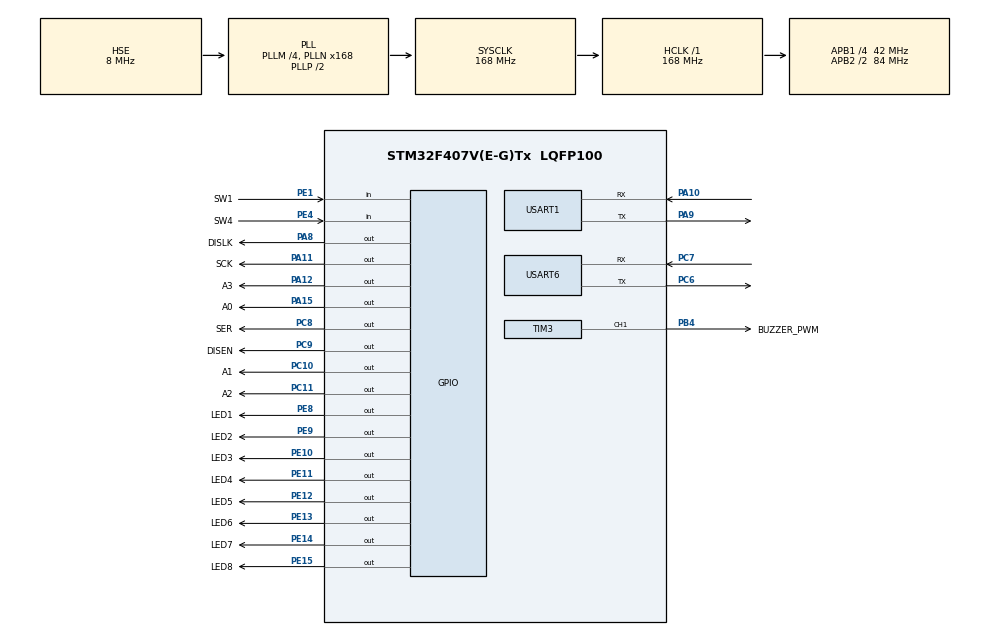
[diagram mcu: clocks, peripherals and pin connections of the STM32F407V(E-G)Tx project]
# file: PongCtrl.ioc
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Dma.Request0=USART6_RX
Dma.Request1=USART1_RX
Dma.USART1_RX.1.Direction=DMA_PERIPH_TO_MEMORY
Dma.USART1_RX.1.FIFOMode=DMA_FIFOMODE_DISABLE
Dma.USART1_RX.1.Instance=DMA2_Stream2
Dma.USART1_RX.1.MemDataAlignment=DMA_MDATAALIGN_BYTE
Dma.USART1_RX.1.MemInc=DMA_MINC_ENABLE
Dma.USART1_RX.1.Mode=DMA_NORMAL
Dma.USART1_RX.1.PeriphDataAlignment=DMA_PDATAALIGN_BYTE
Dma.USART1_RX.1.PeriphInc=DMA_PINC_DISABLE
Dma.USART1_RX.1.Priority=DMA_PRIORITY_LOW
Dma.USART6_RX.0.Direction=DMA_PERIPH_TO_MEMORY
Dma.USART6_RX.0.FIFOMode=DMA_FIFOMODE_DISABLE
Dma.USART6_RX.0.Instance=DMA2_Stream1
Dma.USART6_RX.0.MemDataAlignment=DMA_MDATAALIGN_BYTE
Dma.USART6_RX.0.MemInc=DMA_MINC_ENABLE
Dma.USART6_RX.0.Mode=DMA_NORMAL
Dma.USART6_RX.0.PeriphDataAlignment=DMA_PDATAALIGN_BYTE
Dma.USART6_RX.0.PeriphInc=DMA_PINC_DISABLE
Dma.USART6_RX.0.Priority=DMA_PRIORITY_LOW
FREERTOS.Queues01=netQueue,16,128,1,Dynamic,NULL,NULL;buzzerQueue,8,32,1,Dynamic,NULL,NULL
FREERTOS.Tasks01=TaskNet,40,512,StartTaskNet,AboveNormal,NULL,Dynamic,NULL,NULL;TaskButton,24,256,StartTaskButton,Normal,NULL,Dynamic,NULL,NULL;TaskBuzzer,24,256,StartTaskBuzzer,Normal,NULL,Dynamic,NULL,NULL;TaskStatus,8,256,StartTaskStatus,Low,NULL,Dynamic,NULL,NULL;TaskDisplay,8,128,StartTaskDisplay,Low,NULL,Dynamic,NULL,NULL
Mcu.Family=STM32F4
Mcu.Name=STM32F407V(E-G)Tx
Mcu.Package=LQFP100
NVIC.DMA2_Stream1_IRQn=true\:5\:0\:false\:false\:true\:true\:false\:true\:true
NVIC.DMA2_Stream2_IRQn=true\:5\:0\:false\:false\:true\:true\:false\:true\:true
NVIC.PriorityGroup=NVIC_PRIORITYGROUP_4
NVIC.TIM7_IRQn=true\:15\:0\:false\:false\:true\:false\:false\:true\:true
NVIC.TimeBase=TIM7_IRQn
NVIC.TimeBaseIP=TIM7
NVIC.USART1_IRQn=true\:5\:0\:false\:false\:true\:true\:true\:true\:true
NVIC.USART6_IRQn=true\:5\:0\:false\:false\:true\:true\:true\:true\:true
PB4.GPIO_Label=BUZZER_PWM
PB4.GPIO_Speed=GPIO_SPEED_FREQ_VERY_HIGH
PB4.Signal=S_TIM3_CH1
PA10.Mode=Asynchronous
PA10.Signal=USART1_RX
PA11.GPIO_Label=SCK
PA11.Signal=GPIO_Output
PA12.GPIO_Label=A3
PA12.Signal=GPIO_Output
PA13.Mode=Serial_Wire
PA13.Signal=SYS_JTMS-SWDIO
PA14.Mode=Serial_Wire
PA14.Signal=SYS_JTCK-SWCLK
PA15.GPIO_Label=A0
PA15.Signal=GPIO_Output
PA8.GPIO_Label=DISLK
PA8.Signal=GPIO_Output
PA9.Mode=Asynchronous
PA9.Signal=USART1_TX
PC6.Mode=Asynchronous
PC6.Signal=USART6_TX
PC7.Mode=Asynchronous
PC7.Signal=USART6_RX
PC10.GPIO_Label=A1
PC10.Signal=GPIO_Output
PC11.GPIO_Label=A2
PC11.Signal=GPIO_Output
PC8.GPIO_Label=SER
PC8.Signal=GPIO_Output
PC9.GPIO_Label=DISEN
PC9.Signal=GPIO_Output
PE1.GPIO_Label=SW1
PE1.GPIO_PuPd=GPIO_PULLUP
PE1.Signal=GPIO_Input
PE10.GPIO_Label=LED3
PE10.Signal=GPIO_Output
PE11.GPIO_Label=LED4
PE11.Signal=GPIO_Output
PE12.GPIO_Label=LED5
PE12.Signal=GPIO_Output
PE13.GPIO_Label=LED6
PE13.Signal=GPIO_Output
PE14.GPIO_Label=LED7
PE14.Signal=GPIO_Output
PE15.GPIO_Label=LED8
PE15.Signal=GPIO_Output
PE4.GPIO_Label=SW4
PE4.GPIO_PuPd=GPIO_PULLUP
PE4.Signal=GPIO_Input
PE8.GPIO_Label=LED1
PE8.GPIO_PuPd=GPIO_PULLUP
PE8.PinState=GPIO_PIN_SET
PE8.Signal=GPIO_Output
PE9.GPIO_Label=LED2
PE9.Signal=GPIO_Output
PH0-OSC_IN.Mode=HSE-External-Oscillator
PH0-OSC_IN.Signal=RCC_OSC_IN
PH1-OSC_OUT.Mode=HSE-External-Oscillator
PH1-OSC_OUT.Signal=RCC_OSC_OUT
ProjectManager.HeapSize=0x400
ProjectManager.StackSize=0x800
ProjectManager.TargetToolchain=MDK-ARM V5.32
RCC.48MHZClocksFreq_Value=84000000
RCC.AHBFreq_Value=168000000
RCC.APB1CLKDivider=RCC_HCLK_DIV4
RCC.APB1Freq_Value=42000000
RCC.APB1TimFreq_Value=84000000
RCC.APB2CLKDivider=RCC_HCLK_DIV2
RCC.APB2Freq_Value=84000000
RCC.APB2TimFreq_Value=168000000
RCC.CortexFreq_Value=168000000
RCC.HCLKFreq_Value=168000000
RCC.HSE_VALUE=8000000
RCC.HSI_VALUE=16000000
RCC.LSE_VALUE=32768
RCC.PLLM=4
RCC.PLLN=168
RCC.PLLSourceVirtual=RCC_PLLSOURCE_HSE
RCC.SYSCLKFreq_VALUE=168000000
RCC.SYSCLKSource=RCC_SYSCLKSOURCE_PLLCLK
RCC.VCOOutputFreq_Value=336000000
SH.S_TIM3_CH1.0=TIM3_CH1,PWM Generation1 CH1
TIM3.Channel-PWM\ Generation1\ CH1=TIM_CHANNEL_1
TIM3.Period=1000-1
TIM3.Prescaler=84-1
USART1.VirtualMode=VM_ASYNC
USART6.VirtualMode=VM_ASYNC
VP_FREERTOS_VS_CMSIS_V2.Mode=CMSIS_V2
VP_SYS_VS_tim7.Mode=TIM7
VP_TIM3_VS_ClockSourceINT.Mode=Internal
board=custom

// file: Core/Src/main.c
/* USER CODE BEGIN Header */
/**
  ******************************************************************************
  * @file           : main.c
  * @brief          : Main program body
  ******************************************************************************
  * @attention
  *
  * Copyright (c) 2026 STMicroelectronics.
  * All rights reserved.
  *
  * This software is licensed under terms that can be found in the LICENSE file
  * in the root directory of this software component.
  * If no LICENSE file comes with this software, it is provided AS-IS.
  *
  ******************************************************************************
  */
/* USER CODE END Header */
#include "main.h"
#include "cmsis_os.h"
#include "dma.h"
#include "tim.h"
#include "usart.h"
#include "gpio.h"

void SystemClock_Config(void);
void MX_FREERTOS_Init(void);

int main(void)
{

  /* MCU Configuration--------------------------------------------------------*/

  /* Reset of all peripherals, Initializes the Flash interface and the Systick. */
  HAL_Init();

  /* Configure the system clock */
  SystemClock_Config();

  /* Initialize all configured peripherals */
  MX_GPIO_Init();
  MX_DMA_Init();
  MX_USART1_UART_Init();
  MX_TIM3_Init();
  MX_USART6_UART_Init();

  /* Init scheduler */
  osKernelInitialize();

  /* Call init function for freertos objects (in cmsis_os2.c) */
  MX_FREERTOS_Init();

  /* Start scheduler */
  osKernelStart();

  /* We should never get here as control is now taken by the scheduler */

  /* Infinite loop */
  while (1)
  {

  }
}

void SystemClock_Config(void)
{
  RCC_OscInitTypeDef RCC_OscInitStruct = {0};
  RCC_ClkInitTypeDef RCC_ClkInitStruct = {0};

  /** Configure the main internal regulator output voltage
  */
  __HAL_RCC_PWR_CLK_ENABLE();
  __HAL_PWR_VOLTAGESCALING_CONFIG(PWR_REGULATOR_VOLTAGE_SCALE1);

  /** Initializes the RCC Oscillators according to the specified parameters
  * in the RCC_OscInitTypeDef structure.
  */
  RCC_OscInitStruct.OscillatorType = RCC_OSCILLATORTYPE_HSE;
  RCC_OscInitStruct.HSEState = RCC_HSE_ON;
  RCC_OscInitStruct.PLL.PLLState = RCC_PLL_ON;
  RCC_OscInitStruct.PLL.PLLSource = RCC_PLLSOURCE_HSE;
  RCC_OscInitStruct.PLL.PLLM = 4;
  RCC_OscInitStruct.PLL.PLLN = 168;
  RCC_OscInitStruct.PLL.PLLP = RCC_PLLP_DIV2;
  RCC_OscInitStruct.PLL.PLLQ = 4;
  if (HAL_RCC_OscConfig(&RCC_OscInitStruct) != HAL_OK)
  {
    Error_Handler();
  }

  /** Initializes the CPU, AHB and APB buses clocks
  */
  RCC_ClkInitStruct.ClockType = RCC_CLOCKTYPE_HCLK|RCC_CLOCKTYPE_SYSCLK
                              |RCC_CLOCKTYPE_PCLK1|RCC_CLOCKTYPE_PCLK2;
  RCC_ClkInitStruct.SYSCLKSource = RCC_SYSCLKSOURCE_PLLCLK;
  RCC_ClkInitStruct.AHBCLKDivider = RCC_SYSCLK_DIV1;
  RCC_ClkInitStruct.APB1CLKDivider = RCC_HCLK_DIV4;
  RCC_ClkInitStruct.APB2CLKDivider = RCC_HCLK_DIV2;

  if (HAL_RCC_ClockConfig(&RCC_ClkInitStruct, FLASH_LATENCY_5) != HAL_OK)
  {
    Error_Handler();
  }
}

void HAL_TIM_PeriodElapsedCallback(TIM_HandleTypeDef *htim)
{
  if (htim->Instance == TIM7)
  {
    HAL_IncTick();
  }
}

void Error_Handler(void)
{
  __disable_irq();
  while (1)
  {
  }
}

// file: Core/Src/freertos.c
/* USER CODE BEGIN Header */
/**
  ******************************************************************************
  * File Name          : freertos.c
  * Description        : Code for freertos applications
  ******************************************************************************
  * @attention
  *
  * Copyright (c) 2026 STMicroelectronics.
  * All rights reserved.
  *
  * This software is licensed under terms that can be found in the LICENSE file
  * in the root directory of this software component.
  * If no LICENSE file comes with this software, it is provided AS-IS.
  *
  ******************************************************************************
  */
/* USER CODE END Header */

#include "FreeRTOS.h"
#include "task.h"
#include "main.h"
#include "cmsis_os.h"

/* USER CODE BEGIN Includes */
#include "usart.h"
#include "bsp_uart_fifo.h"
#include "bsp_es8266.h"
#include "mqtt_client.h"
#include "mqtt_config.h"
#include "game_protocol.h"
#include "buzzer.h"
#include "keys.h"
#include "led.h"
#include "score_display.h"
#include <stdio.h>

/* USER CODE END Includes */

/* USER CODE BEGIN PTD */
typedef struct
{
  int8_t move;
} NetMessage_t;

/* USER CODE END PTD */

/* USER CODE BEGIN Variables */
static uint8_t g_mqtt_ready = 0U;
static char g_local_ip[32] = "unknown";
static uint32_t g_last_win_tick = 0U;
/* USER CODE END Variables */
/* Definitions for TaskNet */
osThreadId_t TaskNetHandle;
const osThreadAttr_t TaskNet_attributes = {
  .name = "TaskNet",
  .stack_size = 512 * 4,
  .priority = (osPriority_t) osPriorityHigh,
};
/* Definitions for TaskButton */
osThreadId_t TaskButtonHandle;
const osThreadAttr_t TaskButton_attributes = {
  .name = "TaskButton",
  .stack_size = 256 * 4,
  .priority = (osPriority_t) osPriorityNormal,
};
/* Definitions for TaskBuzzer */
osThreadId_t TaskBuzzerHandle;
const osThreadAttr_t TaskBuzzer_attributes = {
  .name = "TaskBuzzer",
  .stack_size = 256 * 4,
  .priority = (osPriority_t) osPriorityNormal,
};
/* Definitions for TaskStatus */
osThreadId_t TaskStatusHandle;
const osThreadAttr_t TaskStatus_attributes = {
  .name = "TaskStatus",
  .stack_size = 256 * 4,
  .priority = (osPriority_t) osPriorityLow,
};
/* Definitions for TaskDisplay */
osThreadId_t TaskDisplayHandle;
const osThreadAttr_t TaskDisplay_attributes = {
  .name = "TaskDisplay",
  .stack_size = 128 * 4,
  .priority = (osPriority_t) osPriorityNormal,
};
/* Definitions for netQueue */
osMessageQueueId_t netQueueHandle;
const osMessageQueueAttr_t netQueue_attributes = {
  .name = "netQueue"
};
/* Definitions for buzzerQueue */
osMessageQueueId_t buzzerQueueHandle;
const osMessageQueueAttr_t buzzerQueue_attributes = {
  .name = "buzzerQueue"
};

/* USER CODE BEGIN FunctionPrototypes */
static void Net_PublishStatusRepeated(uint8_t times);
static int8_t Button_ReadMoveDirection(void);
static void Buzzer_HandleEvent(BuzzerEvent_t event);
static void Net_HandleReceivePacket(void);
static void Net_HandleOneMqttPacket(uint8_t *data, uint16_t len);
static const char *Button_MoveToText(int8_t move);

/* USER CODE END FunctionPrototypes */

void StartTaskNet(void *argument);
void StartTaskButton(void *argument);
void StartTaskBuzzer(void *argument);
void StartTaskStatus(void *argument);
void StartTaskDisplay(void *argument);

void MX_FREERTOS_Init(void); /* (MISRA C 2004 rule 8.1) */

void MX_FREERTOS_Init(void) {

  /* Create the queue(s) */
  /* creation of netQueue */
  netQueueHandle = osMessageQueueNew (16, sizeof(NetMessage_t), &netQueue_attributes);

  /* creation of buzzerQueue */
  buzzerQueueHandle = osMessageQueueNew (8, sizeof(BuzzerEvent_t), &buzzerQueue_attributes);

  /* Create the thread(s) */
  /* creation of TaskNet */
  TaskNetHandle = osThreadNew(StartTaskNet, NULL, &TaskNet_attributes);

  /* creation of TaskButton */
  TaskButtonHandle = osThreadNew(StartTaskButton, NULL, &TaskButton_attributes);

  /* creation of TaskBuzzer */
  TaskBuzzerHandle = osThreadNew(StartTaskBuzzer, NULL, &TaskBuzzer_attributes);

  /* creation of TaskStatus */
  TaskStatusHandle = osThreadNew(StartTaskStatus, NULL, &TaskStatus_attributes);

  /* creation of TaskDisplay */
  TaskDisplayHandle = osThreadNew(StartTaskDisplay, NULL, &TaskDisplay_attributes);

}

__weak void StartTaskNet(void *argument)
{
  /* USER CODE BEGIN StartTaskNet */
  /* 网络任务：初始化 USART6 FIFO，连接 ESP8266、Wi-Fi 和 MQTT，并订阅 RESULT 结果主题。 */
  UART_FIFO_Init(&uart6_fifo, &huart6);
  UART_Start_IT(&uart6_fifo);
  Buzzer_Init();
  ScoreDisplay_Init();
  Led_Init();

  printf("\r\n========== PongCtrl Start ==========\r\n");
  printf("Player ID: %d\r\n", PLAYER_ID);
  printf("WiFi SSID: %s\r\n", WIFI_SSID);
  printf("MQTT Broker: %s:%d\r\n", MQTT_BROKER_HOST, MQTT_BROKER_PORT);
  printf("MQTT ClientId: %s\r\n", MQTT_CLIENT_ID);
  printf("STATUS Topic: %s\r\n", TOPIC_STATUS);
  printf("INPUT Topic: %s\r\n", TOPIC_INPUT);
  printf("RESULT Topic: %s\r\n", TOPIC_RESULT);
  printf("====================================\r\n");

  for (;;)
  {
    g_mqtt_ready = 0U;
    ScoreDisplay_Reset();
    Led_AllOff();

    printf("[NET] ESP8266 init start...\r\n");
    if (ESP_Init() != 0U)
    {
      printf("[NET] ESP8266 init failed, retry after 3s.\r\n");
      osDelay(3000U);
      continue;
    }
    printf("[NET] ESP8266 init OK, WiFi connected.\r\n");

    printf("[NET] Reading ESP8266 IP...\r\n");
    if (ESP_GetLocalIP(g_local_ip, sizeof(g_local_ip)) == 0U)
    {
      GameProtocol_SetDeviceIp(g_local_ip);
      printf("[NET] ESP8266 IP: %s\r\n", g_local_ip);
    }
    else
    {
      GameProtocol_SetDeviceIp("unknown");
      printf("[NET] ESP8266 IP read failed, STATUS will use unknown.\r\n");
    }

    printf("[NET] TCP connect to MQTT Broker %s:%d...\r\n", MQTT_BROKER_HOST, MQTT_BROKER_PORT);
    if (ESP_ConnectMQTTServer() != 0U)
    {
      printf("[NET] TCP connect failed, retry after 3s.\r\n");
      osDelay(3000U);
      continue;
    }
    printf("[NET] TCP connected, ESP8266 entered transparent mode.\r\n");

    printf("[MQTT] CONNECT start, ClientId=%s...\r\n", MQTT_CLIENT_ID);
    if (MQTT_Connect() != 0U)
    {
      printf("[MQTT] CONNECT failed, retry after 3s.\r\n");
      osDelay(3000U);
      continue;
    }
    printf("[MQTT] CONNECT OK.\r\n");

    printf("[MQTT] SUBSCRIBE %s\r\n", TOPIC_RESULT);
    MQTT_Subscribe(TOPIC_RESULT);
    printf("[MQTT] SUBSCRIBE sent.\r\n");

    printf("[MQTT] Publish STATUS start.\r\n");
    Net_PublishStatusRepeated(3U);
    printf("[MQTT] Publish STATUS done, board is online.\r\n");
    g_mqtt_ready = 1U;
    Led_AllOn();

    for (;;)
    {
      NetMessage_t msg;

      if (osMessageQueueGet(netQueueHandle, &msg, NULL, 0U) == osOK)
      {
        printf("[INPUT] move=%d (%s), publish to %s\r\n",
               msg.move,
               Button_MoveToText(msg.move),
               TOPIC_INPUT);
        GameProtocol_PublishInput(msg.move);
      }

      MQTT_KeepAlive();
      Net_HandleReceivePacket();
      osDelay(10U);
    }
  }
  /* USER CODE END StartTaskNet */
}

void StartTaskButton(void *argument)
{
  /* USER CODE BEGIN StartTaskButton */
  /* 按键任务：检测 SW1(PE1) 与 SW4(PE4)，每次按下发送一次移动指令。 */
  uint8_t button_ready = 1U;

  for(;;)
  {
    int8_t current_move = Button_ReadMoveDirection();
    uint8_t should_send = 0U;

    if (current_move == 0)
    {
      button_ready = 1U;
    }

    if ((current_move != 0) && (button_ready != 0U))
    {
      should_send = 1U;
      button_ready = 0U;
    }

    if (should_send != 0U)
    {
      NetMessage_t msg;

      msg.move = current_move;

      if (g_mqtt_ready != 0U)
      {
        if (osMessageQueuePut(netQueueHandle, &msg, 0U, 0U) == osOK)
        {
          printf("[BUTTON] step queued: %d (%s)\r\n",
                 current_move,
                 Button_MoveToText(current_move));
        }
        else
        {
          printf("[BUTTON] netQueue full, drop move=%d\r\n", current_move);
        }
      }
    }

    osDelay(1U);
  }
  /* USER CODE END StartTaskButton */
}

void StartTaskBuzzer(void *argument)
{
  /* USER CODE BEGIN StartTaskBuzzer */
  /* 蜂鸣器任务：等待 RESULT 解析后的事件，播放胜利或失败提示音。 */
  for(;;)
  {
    BuzzerEvent_t event;

    if (osMessageQueueGet(buzzerQueueHandle, &event, NULL, osWaitForever) == osOK)
    {
      printf("[BUZZER] event=%d\r\n", event);
      Buzzer_HandleEvent(event);
    }
  }
  /* USER CODE END StartTaskBuzzer */
}

void StartTaskStatus(void *argument)
{
  /* USER CODE BEGIN StartTaskStatus */
  uint8_t status_tick = 0U;

  for(;;)
  {
    if ((g_mqtt_ready != 0U) && (status_tick == 0U))
    {
      printf("[STATUS] publish online status, ip=%s\r\n", g_local_ip);
      GameProtocol_PublishStatus();
    }

    status_tick++;
    if (status_tick >= 6U)
    {
      status_tick = 0U;
    }

    osDelay(500U);
  }
  /* USER CODE END StartTaskStatus */
}

void StartTaskDisplay(void *argument)
{
  /* USER CODE BEGIN StartTaskDisplay */
  /* 数码管扫描任务：每 1ms 刷新一位，持续显示当前分数 0000~9999。 */
  for(;;)
  {
    ScoreDisplay_Tick();
    osDelay(1U);
  }
  /* USER CODE END StartTaskDisplay */
}

/* USER CODE BEGIN Application */

/* 重复发布 STATUS，提高 UE5 或 MQTTX 收到上线消息的概率。 */
static void Net_PublishStatusRepeated(uint8_t times)
{
  uint8_t i;

  for (i = 0U; i < times; ++i)
  {
    GameProtocol_PublishStatus();
    osDelay(300U);
  }
}

/* 读取当前按键方向：SW1 与 SW4 同时按下或都未按下时不发送移动。 */
static int8_t Button_ReadMoveDirection(void)
{
  uint8_t up_pressed = sw1_is_pressed();
  uint8_t down_pressed = sw4_is_pressed();

  if ((up_pressed != 0U) && (down_pressed == 0U))
  {
    return 1;
  }

  if ((down_pressed != 0U) && (up_pressed == 0U))
  {
    return -1;
  }

  return 0;
}

/* 连续多次读取到相同方向才认为按键稳定，用于按键消抖。 */
#if 0
static int8_t Button_ReadStableDirection(void)
{
  static int8_t stable_move = 0;
  static int8_t last_sample = 0;
  static uint8_t same_count = 0U;
  int8_t sample = Button_ReadMoveDirection();

  if (sample == last_sample)
  {
    if (same_count < 3U)
    {
      same_count++;
    }
  }
  else
  {
    same_count = 0U;
    last_sample = sample;
  }

  if (same_count >= 3U)
  {
    stable_move = sample;
  }

  return stable_move;
}
#endif

/* 根据蜂鸣器事件播放对应旋律。 */
static void Buzzer_HandleEvent(BuzzerEvent_t event)
{
  if (event == BUZZER_EVENT_WIN)
  {
    Buzzer_PlayWinMusic();
  }
  else if (event == BUZZER_EVENT_LOSE)
  {
    Buzzer_PlayLoseMusic();
  }
  else if (event == BUZZER_EVENT_RESET_SCORE)
  {
  }
}

/* 从 ESP8266 透传数据中读取 MQTT 包，解析 RESULT 并投递给蜂鸣器任务。 */
static void Net_HandleReceivePacket(void)
{
  uint8_t rx_buf[256];
  uint16_t rx_len;
  uint16_t i;

  rx_len = ESP_RecvRaw(rx_buf, sizeof(rx_buf));
  if (rx_len == 0U)
  {
    return;
  }

  for (i = 0U; i < rx_len; ++i)
  {
    if ((rx_buf[i] & 0xF0U) == 0x30U)
    {
      Net_HandleOneMqttPacket(&rx_buf[i], (uint16_t)(rx_len - i));
    }
  }
}

/* 处理一个可能的 MQTT PUBLISH 包。串口一次读取中可能粘连多个包，因此由上层循环逐个尝试解析。 */
static void Net_HandleOneMqttPacket(uint8_t *data, uint16_t len)
{
  BuzzerEvent_t event;

  event = GameProtocol_ParseMqttPacket(data, len);
  if (event != BUZZER_EVENT_NONE)
  {
    if (GameProtocol_IsExitMqttPacket(data, len) != 0U)
    {
      g_mqtt_ready = 0U;
      Led_AllOff();
      printf("[LED] game exit/offline, LED1-LED8 off.\r\n");
    }

    if (event == BUZZER_EVENT_WIN)
    {
      uint32_t now_tick = osKernelGetTickCount();

      if ((g_last_win_tick == 0U) || ((now_tick - g_last_win_tick) > 1000U))
      {
        g_last_win_tick = now_tick;
        ScoreDisplay_AddWin();
        printf("[SCORE] win +1, score=%u\r\n", ScoreDisplay_GetScore());
      }
      else
      {
        printf("[SCORE] duplicate win ignored, score=%u\r\n", ScoreDisplay_GetScore());
      }
    }
    else if (event == BUZZER_EVENT_RESET_SCORE)
    {
      ScoreDisplay_Reset();
      g_last_win_tick = 0U;
      printf("[SCORE] reset to 0000.\r\n");
    }

    printf("[MQTT] RESULT received, buzzer event=%d\r\n", event);
    osMessageQueuePut(buzzerQueueHandle, &event, 0U, 0U);
  }
}

/* 将 move 数值转换成文字，便于串口调试助手直接观察方向。 */
static const char *Button_MoveToText(int8_t move)
{
  if (move < 0)
  {
    return "UP";
  }

  if (move > 0)
  {
    return "DOWN";
  }

  return "STOP";
}

/* USER CODE END Application */
